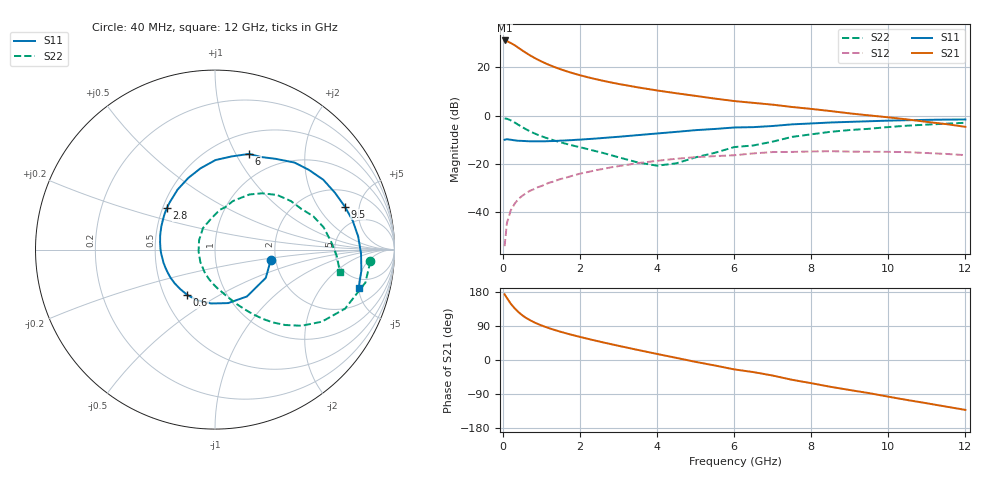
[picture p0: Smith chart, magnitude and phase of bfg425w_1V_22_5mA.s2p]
! Filename: 122bfg425.001
! BFG425W Field C1
! V1=8.780E-001V,V2=1.000E+000V, I1=3.480E-004A, I2=2.251E-002A
# GHz  S  MA  R 50
!  S11  S21  S12  S22
!Freq(GHz)  Mag  Ang  Mag  Ang  Mag  Ang  Mag  Ang
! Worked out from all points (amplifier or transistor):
!   44 points, 40 MHz to 12 GHz, reference 50 ohm
!   highest |S21| = 31.0 dB at 40 MHz (marker M1)
!   |S21| within 3 dB of that: start of sweep to 395.9 MHz
!   unconditionally stable (mu >= 1): start of sweep to 62.53 MHz; 1.072 GHz to end of sweep
!   at 700 MHz: K = 0.83, MSG = 28.0 dB, |S12| = -31.1 dB
!   at 2.4 GHz: K = 1.19, MAG = 16.2 dB, |S12| = -22.6 dB
!   at 12 GHz: K = 1.37, MAG = 2.2 dB, |S12| = -16.4 dB
!   S11 on the Smith chart (normalised r, x): 40 MHz: 1.88, -0.24; 600 MHz: 0.65, -0.36; 2.8 GHz: 0.53, +0.28; 6 GHz: 0.72, +1.13; 9.5 GHz: 3.13, +3.58; 12 GHz: 3.61, -4.99
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0.04  0.316 -10.4  35.55 173.3  0.002 71.1  0.868 -4.3
0.1  0.324 -29.0  34.53 163.7  0.006 80.4  0.858 -12.4
0.2  0.316 -55.7  31.47 148.5  0.011 73.1  0.796 -24.4
0.3  0.307 -76.1  28.36 136.5  0.015 68.2  0.718 -34.0
0.4  0.301 -94.1  25.04 126.4  0.019 64.2  0.642 -41.4
0.5  0.299 -109.7  22.09 117.8  0.022 62.0  0.574 -47.1
0.6  0.296 -121.7  19.59 110.9  0.025 60.3  0.518 -51.6
0.8  0.293 -140.4  15.75 99.8  0.03 58.4  0.432 -58.3
0.9  0.293 -147.8  14.29 95.2  0.033 57.6  0.4 -61.0
1.1  0.294 -160.2  11.99 87.3  0.038 56.1  0.349 -65.7
1.3  0.297 -170.3  10.29 80.4  0.043 54.7  0.31 -70.1
1.6  0.305 176.8  8.452 71.5  0.051 52.1  0.265 -76.2
2.2  0.326 156.5  6.173 55.9  0.068 45.5  0.202 -90.1
2.8  0.354 139.4  4.825 41.9  0.085 37.7  0.152 -108.0
3.5  0.394 121.9  3.815 26.5  0.104 27.5  0.107 -139.8
4.5  0.46 100.1  2.886 5.6  0.128 11.8  0.103 149.3
6  0.566 70.3  1.991 -24.8  0.151 -13.1  0.223 83.3
6.5  0.576 63.6  1.825 -31.9  0.165 -17.3  0.241 76.9
8.5  0.718 32.8  1.237 -70.8  0.183 -53.4  0.461 41.3
9.5  0.762 18.3  1.006 -87.4  0.178 -69.2  0.532 25.2
10.5  0.801 5.2  0.829 -105.8  0.175 -86.7  0.618 11.6
12  0.829 -15.1  0.584 -131.7  0.152 -114.4  0.708 -10.3
